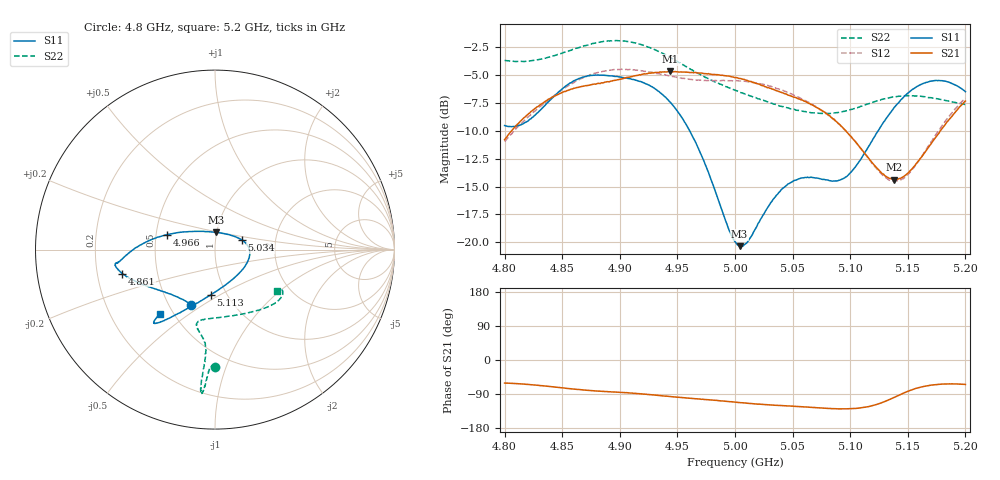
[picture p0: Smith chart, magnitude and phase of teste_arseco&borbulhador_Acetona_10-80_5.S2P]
! Network Analyzer HP8722D
! Hewlett-Packard
! Data name: Linha & Wilkinson
! Saver's name: Rodrigo Anjos
! Comments: Teste da utilização de aquisição
! continua pelo VNA HP8722D
! Time and date: 17/4/2025 14:24
!  Frequency  S11  S21  S12  S22
# HZ  S  MA R 50
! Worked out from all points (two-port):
!   401 points, 4.8 GHz to 5.2 GHz, reference 50 ohm
!   highest |S21| = -4.67 dB at 4.944 GHz (marker M1); lowest = -14.4 dB at 5.138 GHz (marker M2)
!   |S21| within 3 dB of the highest: 4.831 GHz to 5.067 GHz (236.4 MHz wide, 4.78 % of centre); 5.196711 GHz to end of sweep
!   lowest |S11| = -20.4 dB at 5.004 GHz (marker M3), VSWR 1.21, Z = 49.6 + j9.6 ohm
!   |S11| at or under -10 dB: 4.961 GHz to 5.124 GHz (163.5 MHz wide, 3.24 % of centre)
!   |S22| runs from -8.4 to -1.9 dB; largest |S21 - S12| = 0.88
!   S11 on the Smith chart (normalised r, x): 4.8 GHz: 0.64, -0.44; 4.861 GHz: 0.31, -0.12; 4.966 GHz: 0.57, +0.10; 5.034 GHz: 1.34, +0.15; 5.113 GHz: 0.84, -0.45; 5.2 GHz: 0.42, -0.39
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4.8e9  0.3341 -113.5  0.2885 -60.9  0.2832 -175.1  0.6555 -90.0
4.819e9  0.3472 -133.5  0.3707 -64.2  0.3589 -173.7  0.65 -91.7
4.861e9  0.5329 -165.4  0.4918 -76.9  0.5252 -176.8  0.7374 -94.0
4.867e9  0.5485 -167.9  0.5006 -78.9  0.544 -178.0  0.7554 -94.1
4.898e9  0.5544 -172.2  0.5364 -84.9  0.5956 175.7  0.8034 -95.3
4.934e9  0.4748 -178.4  0.5786 -93.7  0.5706 171.6  0.717 -95.9
4.944e9  0.4242 177.2  0.584 -96.6  0.5562 171.9  0.6758 -95.6
4.966e9  0.2797 162.7  0.5775 -102.3  0.535 173.7  0.58 -95.0
5e9  0.1007 101.4  0.548 -111.2  0.5313 176.0  0.4813 -99.3
5.004e9  0.09602 87.0  0.5435 -112.2  0.5293 176.1  0.4713 -100.2
5.012e9  0.1023 60.3  0.5282 -114.4  0.5247 175.7  0.4565 -101.9
5.034e9  0.1576 20.4  0.4833 -119.3  0.4946 174.8  0.4164 -103.5
5.05e9  0.1873 4.0  0.4505 -122.0  0.4606 174.1  0.3954 -99.5
5.067e9  0.1954 -14.0  0.414 -125.0  0.4163 173.6  0.381 -90.8
5.093e9  0.1921 -58.3  0.3287 -128.8  0.3271 174.0  0.385 -70.6
5.113e9  0.2542 -95.6  0.2491 -124.6  0.2485 180.0  0.4136 -55.0
5.134e9  0.3761 -116.6  0.1934 -104.4  0.1898 -157.4  0.4453 -43.0
5.138e9  0.4015 -118.9  0.1912 -98.8  0.1882 -151.0  0.4489 -41.2
5.151e9  0.4703 -124.6  0.2062 -81.5  0.2036 -131.0  0.4543 -36.4
5.17e9  0.5285 -129.0  0.2755 -66.4  0.2813 -112.5  0.4455 -32.0
5.184e9  0.5255 -130.3  0.3466 -63.2  0.3577 -107.4  0.4319 -31.0
5.2e9  0.474 -130.6  0.4303 -64.6  0.4427 -106.6  0.4148 -33.5
